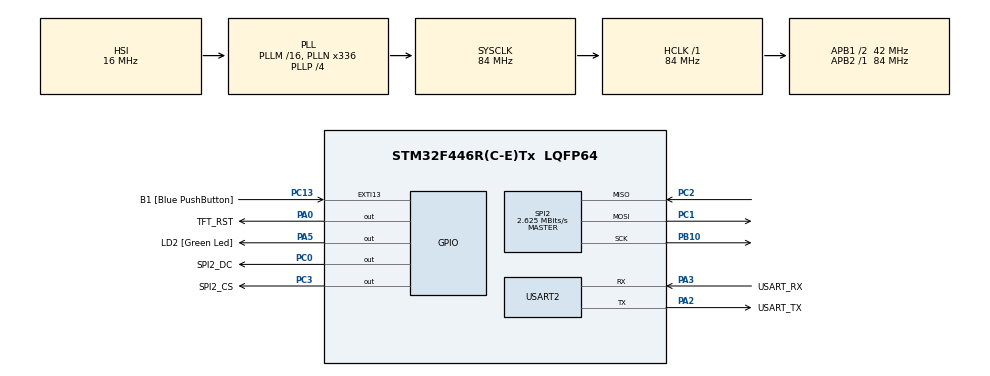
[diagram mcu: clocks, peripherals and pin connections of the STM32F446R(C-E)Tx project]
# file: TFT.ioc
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FREERTOS.Tasks01=defaultTask,24,128,StartDefaultTask,Default,NULL,Dynamic,NULL,NULL
FREERTOS.configUSE_NEWLIB_REENTRANT=1
Mcu.Family=STM32F4
Mcu.Name=STM32F446R(C-E)Tx
Mcu.Package=LQFP64
NVIC.PriorityGroup=NVIC_PRIORITYGROUP_4
NVIC.SPI2_IRQn=true\:5\:0\:false\:false\:true\:true\:true\:true\:true
NVIC.TIM8_TRG_COM_TIM14_IRQn=true\:15\:0\:false\:false\:true\:false\:false\:true\:true
NVIC.TimeBase=TIM8_TRG_COM_TIM14_IRQn
NVIC.TimeBaseIP=TIM14
PA0-WKUP.GPIO_Label=TFT_RST
PA0-WKUP.Signal=GPIO_Output
PA13.GPIO_Label=TMS
PA13.Mode=Serial_Wire
PA13.Signal=SYS_JTMS-SWDIO
PA14.GPIO_Label=TCK
PA14.Mode=Serial_Wire
PA14.Signal=SYS_JTCK-SWCLK
PA2.GPIO_Label=USART_TX
PA2.Mode=Asynchronous
PA2.Signal=USART2_TX
PA3.GPIO_Label=USART_RX
PA3.Mode=Asynchronous
PA3.Signal=USART2_RX
PA5.GPIO_Label=LD2 [Green Led]
PA5.Signal=GPIO_Output
PB10.Mode=Full_Duplex_Master
PB10.Signal=SPI2_SCK
PB3.GPIO_Label=SWO
PB3.Signal=SYS_JTDO-SWO
PC0.GPIO_Label=SPI2_DC
PC0.Signal=GPIO_Output
PC1.Mode=Full_Duplex_Master
PC1.Signal=SPI2_MOSI
PC13.GPIO_Label=B1 [Blue PushButton]
PC13.GPIO_ModeDefaultEXTI=GPIO_MODE_IT_FALLING
PC13.Signal=GPXTI13
PC14-OSC32_IN.Mode=LSE-External-Oscillator
PC14-OSC32_IN.Signal=RCC_OSC32_IN
PC15-OSC32_OUT.Mode=LSE-External-Oscillator
PC15-OSC32_OUT.Signal=RCC_OSC32_OUT
PC2.Mode=Full_Duplex_Master
PC2.Signal=SPI2_MISO
PC3.GPIO_Label=SPI2_CS
PC3.Signal=GPIO_Output
PH0-OSC_IN.Mode=HSE-External-Oscillator
PH0-OSC_IN.Signal=RCC_OSC_IN
PH1-OSC_OUT.Mode=HSE-External-Oscillator
PH1-OSC_OUT.Signal=RCC_OSC_OUT
ProjectManager.HeapSize=0x200
ProjectManager.StackSize=0x400
ProjectManager.TargetToolchain=STM32CubeIDE
RCC.48MHZClocksFreq_Value=84000000
RCC.AHBFreq_Value=84000000
RCC.APB1CLKDivider=RCC_HCLK_DIV2
RCC.APB1Freq_Value=42000000
RCC.APB1TimFreq_Value=84000000
RCC.APB2Freq_Value=84000000
RCC.APB2TimFreq_Value=84000000
RCC.CortexFreq_Value=84000000
RCC.FLatency-AdvancedSettings=FLASH_LATENCY_2
RCC.HCLKFreq_Value=84000000
RCC.HSE_VALUE=8000000
RCC.HSI_VALUE=16000000
RCC.PLLN=336
RCC.PLLP=RCC_PLLP_DIV4
RCC.SYSCLKFreq_VALUE=84000000
RCC.SYSCLKSource=RCC_SYSCLKSOURCE_PLLCLK
RCC.USBFreq_Value=168000000
RCC.VCOOutputFreq_Value=336000000
SPI2.BaudRatePrescaler=SPI_BAUDRATEPRESCALER_16
SPI2.CalculateBaudRate=2.625 MBits/s
SPI2.Direction=SPI_DIRECTION_2LINES
SPI2.Mode=SPI_MODE_MASTER
SPI2.VirtualType=VM_MASTER
USART2.VirtualMode=VM_ASYNC
VP_FREERTOS_VS_CMSIS_V2.Mode=CMSIS_V2
VP_SYS_VS_tim14.Mode=TIM14
board=NUCLEO-F446RE

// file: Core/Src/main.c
/* USER CODE BEGIN Header */
/**
  ******************************************************************************
  * @file           : main.c
  * @brief          : Main program body
  ******************************************************************************
  * @attention
  *
  * Copyright (c) 2026 STMicroelectronics.
  * All rights reserved.
  *
  * This software is licensed under terms that can be found in the LICENSE file
  * in the root directory of this software component.
  * If no LICENSE file comes with this software, it is provided AS-IS.
  *
  ******************************************************************************
  */
/* USER CODE END Header */
#include "main.h"
#include "cmsis_os.h"
#include "spi.h"
#include "usart.h"
#include "gpio.h"

/* USER CODE BEGIN Includes */
#include "dashboard.h"
#include <stdio.h>
/* USER CODE END Includes */

void SystemClock_Config(void);
void MX_FREERTOS_Init(void);

/* USER CODE BEGIN 0 */
void TaskUpdateDashboard(void* p){
	float tiempo=0;
	Dashboard_data_t datos;
	char tiempo_str[9]="00:00:00";
	while(1){
		tiempo+=0.2;
		datos.speed=10+tiempo*0.5;
		datos.altitude=500+tiempo*0.01;
		datos.avg_speed=34.2+tiempo*0.8;
		datos.battery=100-tiempo*0.5;
		datos.distance=40+tiempo;
		datos.slope=20-tiempo*0.2;

		//snprintf(tiempo_str, sizeof(tiempo_str), "01:20:%d",(int)tiempo);
		datos.time = tiempo_str;
		datos.satellites=3;

		dashboard_update(datos);

		vTaskDelay(1000);
	}
}
/* USER CODE END 0 */

int main(void)
{

  /* MCU Configuration--------------------------------------------------------*/

  /* Reset of all peripherals, Initializes the Flash interface and the Systick. */
  HAL_Init();

  /* Configure the system clock */
  SystemClock_Config();

  /* Initialize all configured peripherals */
  MX_GPIO_Init();
  MX_SPI2_Init();
  MX_USART2_UART_Init();
  /* USER CODE BEGIN 2 */
  Queue_dashboard = xQueueCreate(1, sizeof(Dashboard_data_t));

  xTaskCreate(
		  TaskUpdateDashboard,
  	          "Task_update_data",
  	          configMINIMAL_STACK_SIZE,
  	          NULL,
  	          tskIDLE_PRIORITY + 2,
  	          NULL
  	      );

  xTaskCreate(
  	          vTaskLVGL,
  	          "LVGL_Task",
  	          2048,
  	          NULL,
  	          tskIDLE_PRIORITY + 2,
  	          NULL
  	      );

  /* USER CODE END 2 */

  /* Init scheduler */
  osKernelInitialize();  /* Call init function for freertos objects (in cmsis_os2.c) */
  MX_FREERTOS_Init();

  /* Start scheduler */
  osKernelStart();

  /* We should never get here as control is now taken by the scheduler */

  /* Infinite loop */
  while (1)
  {

  }
}

void SystemClock_Config(void)
{
  RCC_OscInitTypeDef RCC_OscInitStruct = {0};
  RCC_ClkInitTypeDef RCC_ClkInitStruct = {0};

  /** Configure the main internal regulator output voltage
  */
  __HAL_RCC_PWR_CLK_ENABLE();
  __HAL_PWR_VOLTAGESCALING_CONFIG(PWR_REGULATOR_VOLTAGE_SCALE3);

  /** Initializes the RCC Oscillators according to the specified parameters
  * in the RCC_OscInitTypeDef structure.
  */
  RCC_OscInitStruct.OscillatorType = RCC_OSCILLATORTYPE_HSI;
  RCC_OscInitStruct.HSIState = RCC_HSI_ON;
  RCC_OscInitStruct.HSICalibrationValue = RCC_HSICALIBRATION_DEFAULT;
  RCC_OscInitStruct.PLL.PLLState = RCC_PLL_ON;
  RCC_OscInitStruct.PLL.PLLSource = RCC_PLLSOURCE_HSI;
  RCC_OscInitStruct.PLL.PLLM = 16;
  RCC_OscInitStruct.PLL.PLLN = 336;
  RCC_OscInitStruct.PLL.PLLP = RCC_PLLP_DIV4;
  RCC_OscInitStruct.PLL.PLLQ = 2;
  RCC_OscInitStruct.PLL.PLLR = 2;
  if (HAL_RCC_OscConfig(&RCC_OscInitStruct) != HAL_OK)
  {
    Error_Handler();
  }

  /** Initializes the CPU, AHB and APB buses clocks
  */
  RCC_ClkInitStruct.ClockType = RCC_CLOCKTYPE_HCLK|RCC_CLOCKTYPE_SYSCLK
                              |RCC_CLOCKTYPE_PCLK1|RCC_CLOCKTYPE_PCLK2;
  RCC_ClkInitStruct.SYSCLKSource = RCC_SYSCLKSOURCE_PLLCLK;
  RCC_ClkInitStruct.AHBCLKDivider = RCC_SYSCLK_DIV1;
  RCC_ClkInitStruct.APB1CLKDivider = RCC_HCLK_DIV2;
  RCC_ClkInitStruct.APB2CLKDivider = RCC_HCLK_DIV1;

  if (HAL_RCC_ClockConfig(&RCC_ClkInitStruct, FLASH_LATENCY_2) != HAL_OK)
  {
    Error_Handler();
  }
}

void HAL_TIM_PeriodElapsedCallback(TIM_HandleTypeDef *htim)
{
  if (htim->Instance == TIM14)
  {
    HAL_IncTick();
  }
}

void Error_Handler(void)
{
  __disable_irq();
  while (1)
  {
  }
}
